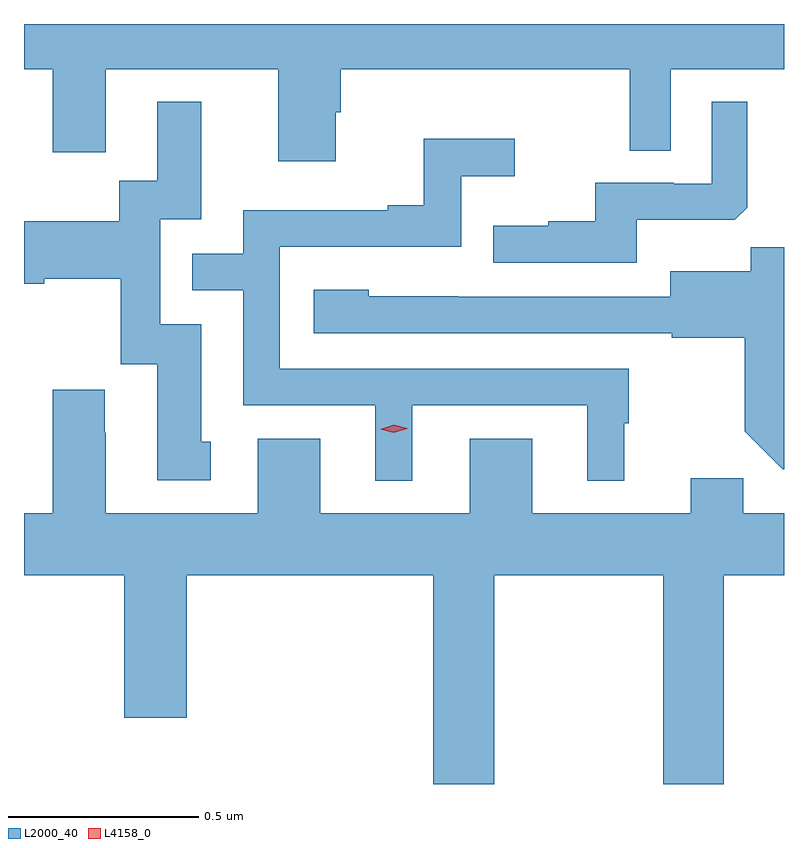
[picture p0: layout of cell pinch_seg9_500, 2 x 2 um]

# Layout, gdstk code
import gdstk
lib = gdstk.Library(unit=1e-6, precision=1e-09)
def P(c, l, *ps):  # polygons
    for p in ps: c.add(gdstk.Polygon(p, *l))
L2000_40 = (2000, 40)
L4158_0 = (4158, 0)

pinch_seg9_500 = lib.new_cell('pinch_seg9_500')
P(pinch_seg9_500, L2000_40, [(321.409,1186.983),(321.422,1186.983),(321.422,1187.096),(322.182,1187.096),(322.182,1186.882),(322.29,1186.882),(322.29,1187.096),(322.588,1187.096),(322.588,1187.215),(320.588,1187.215),(320.588,1187.096),(320.663,1187.096),(320.663,1186.878),(320.803,1186.878),(320.803,1187.096),(321.257,1187.096),(321.257,1186.854),(321.409,1186.854)],
  [(322.201,1186.7),(322.459,1186.7),(322.491,1186.731),(322.491,1187.011),(322.398,1187.011),(322.398,1186.794),(322.298,1186.794),(322.298,1186.797),(322.091,1186.797),(322.091,1186.696),(321.967,1186.696),(321.967,1186.684),(321.823,1186.684),(321.823,1186.587),(322.201,1186.587)],
  [(321.079,1186.116),(321.055,1186.116),(321.055,1186.425),(320.946,1186.425),(320.946,1186.701),(321.055,1186.701),(321.055,1187.011),(320.939,1187.011),(320.939,1186.802),(320.838,1186.802),(320.838,1186.696),(320.588,1186.696),(320.588,1186.532),(320.641,1186.532),(320.641,1186.544),(320.843,1186.544),(320.843,1186.32),(320.939,1186.32),(320.939,1186.014),(321.079,1186.014)],
  [(321.61,1186.212),(322.07,1186.212),(322.07,1186.013),(322.168,1186.013),(322.168,1186.164),(322.18,1186.164),(322.18,1186.308),(321.261,1186.308),(321.261,1186.629),(321.738,1186.629),(321.738,1186.814),(321.88,1186.814),(321.88,1186.913),(321.64,1186.913),(321.64,1186.738),(321.545,1186.738),(321.545,1186.725),(321.165,1186.725),(321.165,1186.611),(321.031,1186.611),(321.031,1186.515),(321.165,1186.515),(321.165,1186.212),(321.512,1186.212),(321.512,1186.013),(321.61,1186.013)],
  [(322.588,1186.628),(322.5,1186.628),(322.5,1186.564),(322.289,1186.564),(322.289,1186.497),(321.731,1186.497),(321.731,1186.498),(321.495,1186.498),(321.495,1186.516),(321.351,1186.516),(321.351,1186.401),(322.293,1186.401),(322.293,1186.389),(322.485,1186.389),(322.485,1186.143),(322.585,1186.043),(322.588,1186.043)],
  [(321.825,1185.764),(322.27,1185.764),(322.27,1185.215),(322.43,1185.215),(322.43,1185.764),(322.588,1185.764),(322.588,1185.928),(322.481,1185.928),(322.481,1186.019),(322.343,1186.019),(322.343,1185.928),(321.925,1185.928),(321.925,1186.123),(321.761,1186.123),(321.761,1185.928),(321.367,1185.928),(321.367,1186.123),(321.203,1186.123),(321.203,1185.928),(320.803,1185.928),(320.803,1186.139),(320.8,1186.139),(320.8,1186.252),(320.663,1186.252),(320.663,1185.928),(320.588,1185.928),(320.588,1185.764),(320.852,1185.764),(320.852,1185.39),(321.016,1185.39),(321.016,1185.764),(321.665,1185.764),(321.665,1185.215),(321.825,1185.215)])
P(pinch_seg9_500, L4158_0, [(321.561,1186.14),(321.525,1186.149),(321.525,1186.149),(321.525,1186.149),(321.561,1186.16),(321.597,1186.151),(321.597,1186.15),(321.597,1186.15)])

lib.write_gds('pinch_seg9_500.gds')
